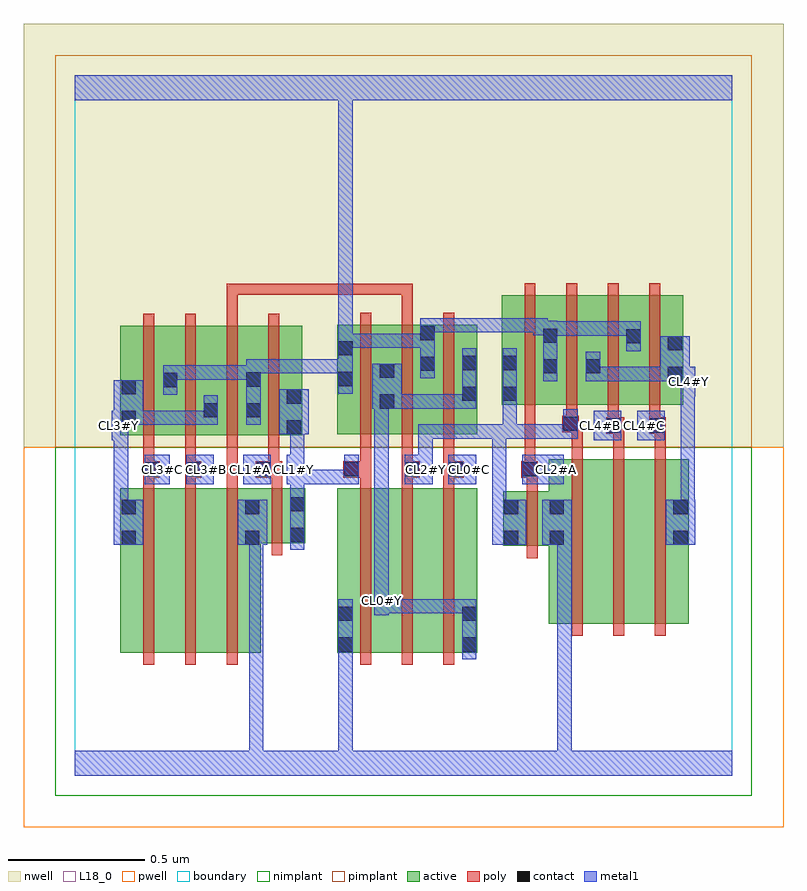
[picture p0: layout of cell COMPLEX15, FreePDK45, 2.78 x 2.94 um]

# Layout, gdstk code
import gdstk
lib = gdstk.Library(unit=1e-6, precision=1e-09)
def R(c, l, rs):  # rectangles x0, y0, x1, y1
    for r in rs: c.add(gdstk.rectangle(r[:2], r[2:], *l))
def A(c, l, x, y, w, h, nx, ny, dx, dy):  # array of equal rectangles
    R(c, l, [(x+i*dx, y+j*dy, x+i*dx+w, y+j*dy+h) for i in range(nx) for j in range(ny)])
active = (1, 0)
pwell = (2, 0)
nwell = (3, 0)
nimplant = (4, 0)
pimplant = (5, 0)
poly = (9, 0)
contact = (10, 0)
metal1 = (11, 0)
L18_0 = (18, 0)
boundary = (235, 0)

complex15 = lib.new_cell('COMPLEX15')
R(complex15, active, [(0.166,0.45,0.346,1.05), (0.346,0.45,0.498,1.05), (0.498,0.45,0.678,1.05), (0.618,0.45,0.678,1.012), (0.958,0.45,1.018,1.05), (0.958,0.45,1.138,1.05), (1.138,0.45,1.29,1.05), (1.29,0.45,1.47,1.05), (1.41,0.45,1.47,1.05), (0.166,0.556,0.226,1.05), (1.73,0.556,1.91,1.156), (1.91,0.556,2.062,1.156), (2.062,0.556,2.242,1.156), (2.182,0.556,2.242,1.156), (1.564,0.84,1.79,1.04), (1.564,0.84,1.624,1.04), (1.73,0.84,1.79,1.012), (0.618,0.85,0.842,1.05), (0.782,0.85,0.842,1.05), (0.166,1.244,0.378,1.644), (0.166,1.244,0.226,1.644), (0.318,1.244,0.526,1.644), (0.318,1.244,0.378,1.644), (0.466,1.244,0.682,1.644), (0.466,1.244,0.526,1.644), (0.622,1.244,0.83,1.644), (0.622,1.244,0.682,1.644), (0.77,1.244,0.83,1.644), (0.958,1.248,1.17,1.648), (0.958,1.248,1.018,1.644), (1.11,1.248,1.318,1.648), (1.11,1.248,1.17,1.648), (1.258,1.248,1.47,1.648), (1.258,1.248,1.318,1.648), (1.41,1.248,1.47,1.644), (1.558,1.356,1.618,1.644), (1.558,1.356,1.766,1.756), (1.706,1.356,1.766,1.644), (1.706,1.356,1.922,1.756), (1.862,1.356,1.922,1.644), (1.862,1.356,2.07,1.756), (2.01,1.356,2.07,1.644), (2.01,1.356,2.222,1.756), (2.162,1.356,2.222,1.644)])
R(complex15, pwell, [(-0.188,-0.188,2.588,1.2)])
R(complex15, nwell, [(-0.188,1.2,2.588,2.748)])
R(complex15, nimplant, [(-0.072,-0.072,2.472,1.2)])
R(complex15, pimplant, [(-0.072,1.2,2.472,2.632)])
A(complex15, poly, 0.25, 0.406, 0.04, 0.688, 3, 1, 0.152, 0)
A(complex15, poly, 1.042, 0.406, 0.04, 0.688, 3, 1, 0.152, 0)
A(complex15, poly, 1.814, 0.512, 0.04, 0.688, 3, 1, 0.152, 0)
A(complex15, poly, 0.25, 1.054, 0.04, 0.076, 3, 1, 0.152, 0)
A(complex15, poly, 1.042, 1.054, 0.04, 0.076, 3, 1, 0.152, 0)
A(complex15, poly, 1.042, 1.11, 0.04, 0.134, 3, 1, 0.152, 0)
A(complex15, poly, 0.25, 1.2, 0.04, 0.488, 4, 1, 0.152, 0)
A(complex15, poly, 1.042, 1.204, 0.04, 0.488, 3, 1, 0.152, 0)
A(complex15, poly, 1.642, 1.312, 0.04, 0.488, 4, 1, 0.152, 0)
R(complex15, poly, [(1.65,0.796,1.69,1.084), (0.718,0.806,0.758,1.094), (1.65,1.044,1.69,1.13), (0.718,1.054,0.758,1.13), (0.25,1.09,0.29,1.13), (0.25,1.09,0.29,1.13), (0.25,1.09,0.31,1.15), (0.402,1.09,0.462,1.15), (0.554,1.09,0.594,1.13), (0.554,1.09,0.594,1.13), (0.554,1.09,0.594,1.13), (0.554,1.09,0.594,1.24), (0.66,1.09,0.758,1.15), (0.98,1.09,1.082,1.15), (1.194,1.09,1.234,1.13), (1.194,1.09,1.234,1.13), (1.194,1.09,1.26,1.15), (1.346,1.09,1.42,1.15), (1.63,1.09,1.69,1.15), (0.25,1.11,0.29,1.24), (0.402,1.11,0.442,1.15), (0.402,1.11,0.442,1.15), (0.402,1.11,0.442,1.24), (0.706,1.11,0.746,1.15), (0.706,1.11,0.746,1.15), (0.706,1.11,0.746,1.24), (1.042,1.11,1.082,1.15), (1.042,1.11,1.082,1.15), (1.346,1.11,1.386,1.15), (1.346,1.11,1.386,1.15), (1.642,1.11,1.682,1.15), (1.642,1.11,1.682,1.15), (1.642,1.11,1.682,1.352), (1.814,1.16,1.854,1.296), (1.966,1.16,2.006,1.29), (2.118,1.16,2.158,1.29), (1.94,1.25,2.006,1.31), (2.098,1.25,2.158,1.31), (1.78,1.256,1.84,1.316), (1.8,1.256,1.84,1.296), (1.8,1.256,1.854,1.296), (1.946,1.27,1.986,1.352), (1.946,1.27,1.986,1.31), (1.946,1.27,1.986,1.31), (2.098,1.27,2.138,1.352), (2.098,1.27,2.138,1.31), (2.098,1.27,2.138,1.31), (1.794,1.276,1.834,1.352), (0.554,1.648,0.594,1.798), (1.194,1.652,1.234,1.798), (0.554,1.758,0.594,1.798), (0.554,1.758,0.594,1.798), (0.554,1.758,0.594,1.798), (0.554,1.758,0.7,1.798), (0.66,1.758,0.7,1.798), (0.66,1.758,0.7,1.798), (0.66,1.758,0.7,1.798), (0.66,1.758,0.806,1.798), (0.766,1.758,0.806,1.798), (0.766,1.758,0.806,1.798), (0.766,1.758,0.806,1.798), (0.766,1.758,1.234,1.798), (1.194,1.758,1.234,1.798), (1.194,1.758,1.234,1.798), (1.194,1.758,1.234,1.798)])
R(complex15, contact, [(0.962,0.454,1.014,0.506), (1.414,0.454,1.466,0.506), (0.962,0.566,1.014,0.618), (1.414,0.566,1.466,0.618), (0.17,0.844,0.222,0.896), (0.622,0.844,0.674,0.896), (1.568,0.844,1.62,0.896), (1.734,0.844,1.786,0.896), (2.186,0.844,2.238,0.896), (0.786,0.854,0.838,0.906), (0.17,0.956,0.222,1.008), (0.622,0.956,0.674,1.008), (1.568,0.956,1.62,1.008), (1.734,0.956,1.786,1.008), (2.186,0.956,2.238,1.008), (0.786,0.966,0.838,1.018), (0.254,1.094,0.306,1.146), (0.406,1.094,0.458,1.146), (0.664,1.094,0.716,1.146), (0.984,1.094,1.036,1.146), (1.204,1.094,1.256,1.146), (1.364,1.094,1.416,1.146), (1.634,1.094,1.686,1.146), (0.774,1.248,0.826,1.3), (1.944,1.254,1.996,1.306), (2.102,1.254,2.154,1.306), (1.784,1.26,1.836,1.312), (0.17,1.282,0.222,1.334), (0.47,1.31,0.522,1.362), (0.626,1.31,0.678,1.362), (1.114,1.342,1.166,1.394), (0.774,1.36,0.826,1.412), (1.414,1.37,1.466,1.422), (1.562,1.37,1.614,1.422), (0.17,1.394,0.222,1.446), (0.322,1.42,0.374,1.472), (0.626,1.422,0.678,1.474), (0.962,1.424,1.014,1.476), (2.166,1.442,2.218,1.494), (1.114,1.454,1.166,1.506), (1.71,1.47,1.762,1.522), (1.866,1.47,1.918,1.522), (1.262,1.48,1.314,1.532), (1.414,1.482,1.466,1.534), (1.562,1.482,1.614,1.534), (0.962,1.536,1.014,1.588), (2.166,1.554,2.218,1.606), (2.014,1.58,2.066,1.632), (1.71,1.582,1.762,1.634), (1.262,1.592,1.314,1.644)])
R(complex15, metal1, [(0,0,2.4,0.092), (0.636,0.04,0.688,0.896), (0.962,0.04,1.014,0.092), (0.962,0.04,1.014,0.092), (0.962,0.04,1.014,0.092), (0.962,0.04,1.014,0.092), (0.962,0.04,1.014,0.092), (0.962,0.04,1.014,0.092), (0.962,0.04,1.014,0.092), (0.962,0.04,1.014,0.092), (0.962,0.04,1.014,0.478), (1.762,0.04,1.814,0.896), (0.962,0.426,1.014,0.646), (1.414,0.426,1.466,0.646), (1.094,0.586,1.146,0.694), (1.094,0.594,1.146,0.646), (1.094,0.594,1.146,0.646), (1.094,0.594,1.304,0.646), (1.252,0.594,1.304,0.646), (1.252,0.594,1.304,0.646), (1.252,0.594,1.304,0.646), (1.252,0.594,1.466,0.646), (1.414,0.594,1.466,0.646), (1.414,0.594,1.466,0.646), (1.094,0.642,1.146,0.694), (1.094,0.642,1.146,0.694), (1.094,0.642,1.146,1.394), (0.786,0.826,0.838,1.046), (0.142,0.844,0.25,1.008), (0.594,0.844,0.702,1.008), (0.636,0.844,0.688,0.896), (0.636,0.844,0.688,0.896), (0.636,0.844,0.688,0.896), (0.636,0.844,0.688,0.896), (0.636,0.844,0.688,0.896), (0.636,0.844,0.688,0.896), (0.636,0.844,0.688,0.896), (0.636,0.844,0.688,0.896), (1.524,0.844,1.648,1.008), (1.706,0.844,1.814,1.008), (1.762,0.844,1.814,0.896), (1.762,0.844,1.814,0.896), (1.762,0.844,1.814,0.896), (1.762,0.844,1.814,0.896), (1.762,0.844,1.814,0.896), (1.762,0.844,1.814,0.896), (1.762,0.844,1.814,0.896), (1.762,0.844,1.814,0.896), (2.158,0.844,2.266,1.008), (0.142,0.956,0.194,1.278), (1.524,0.956,1.576,1.008), (1.524,0.956,1.576,1.008), (1.524,0.956,1.576,1.284), (2.212,0.956,2.264,1.438), (0.786,0.994,0.838,1.118), (0.254,1.066,0.346,1.174), (0.406,1.066,0.506,1.174), (0.614,1.066,0.716,1.174), (0.774,1.066,0.838,1.174), (0.786,1.066,0.838,1.118), (0.786,1.066,0.838,1.118), (0.786,1.066,1.036,1.118), (0.984,1.066,1.036,1.174), (1.204,1.066,1.306,1.174), (1.364,1.066,1.466,1.174), (1.634,1.066,1.786,1.174), (0.786,1.122,0.838,1.174), (0.786,1.122,0.838,1.174), (0.786,1.122,0.838,1.3), (1.254,1.122,1.306,1.174), (1.254,1.122,1.306,1.284), (0.134,1.226,0.194,1.334), (1.894,1.226,1.996,1.334), (2.054,1.226,2.154,1.334), (1.254,1.232,1.424,1.284), (1.372,1.232,1.424,1.284), (1.372,1.232,1.424,1.284), (1.372,1.232,1.424,1.284), (1.372,1.232,1.576,1.284), (1.524,1.232,1.614,1.284), (1.562,1.232,1.614,1.284), (1.562,1.232,1.614,1.284), (1.562,1.232,1.808,1.284), (1.562,1.232,1.614,1.394), (1.756,1.232,1.808,1.284), (1.756,1.232,1.836,1.284), (1.784,1.232,1.836,1.34), (0.746,1.248,0.854,1.412), (0.142,1.282,0.194,1.334), (0.142,1.282,0.194,1.334), (0.142,1.282,0.194,1.334), (0.142,1.282,0.25,1.446), (0.198,1.282,0.25,1.334), (0.198,1.282,0.25,1.334), (0.198,1.282,0.36,1.334), (0.308,1.282,0.36,1.334), (0.308,1.282,0.36,1.334), (0.308,1.282,0.36,1.334), (0.308,1.282,0.522,1.334), (0.47,1.282,0.522,1.39), (0.626,1.282,0.678,1.502), (1.086,1.342,1.194,1.506), (1.142,1.342,1.194,1.394), (1.142,1.342,1.194,1.394), (1.142,1.342,1.314,1.394), (1.262,1.342,1.314,1.394), (1.262,1.342,1.466,1.394), (1.414,1.342,1.466,1.394), (1.414,1.342,1.466,1.394), (1.414,1.342,1.466,1.562), (1.562,1.342,1.614,1.562), (2.212,1.386,2.266,1.494), (0.322,1.392,0.374,1.5), (0.962,1.396,1.014,1.616), (1.71,1.442,1.762,1.662), (1.866,1.442,1.918,1.55), (1.866,1.442,1.996,1.494), (1.944,1.442,1.996,1.494), (1.944,1.442,2.08,1.494), (2.028,1.442,2.08,1.494), (2.028,1.442,2.19,1.494), (2.138,1.442,2.19,1.494), (2.138,1.442,2.19,1.494), (2.138,1.442,2.246,1.606), (2.194,1.442,2.246,1.494), (2.194,1.442,2.264,1.494), (2.212,1.442,2.264,1.494), (0.322,1.448,0.374,1.5), (0.322,1.448,0.374,1.5), (0.322,1.448,0.484,1.5), (0.432,1.448,0.484,1.5), (0.432,1.448,0.484,1.5), (0.432,1.448,0.484,1.5), (0.432,1.448,0.678,1.5), (0.626,1.45,0.678,1.502), (0.626,1.45,0.678,1.522), (1.262,1.452,1.314,1.672), (0.626,1.47,0.904,1.522), (0.852,1.47,0.904,1.522), (0.852,1.47,1.014,1.522), (2.014,1.552,2.066,1.66), (0.962,1.564,1.014,1.616), (0.962,1.564,1.014,1.616), (0.962,1.564,1.014,1.616), (0.962,1.564,1.014,1.616), (0.962,1.564,1.194,1.616), (0.962,1.564,1.014,2.52), (1.142,1.564,1.194,1.616), (1.142,1.564,1.194,1.616), (1.142,1.564,1.194,1.616), (1.142,1.564,1.314,1.616), (1.71,1.608,1.836,1.66), (1.784,1.608,1.836,1.66), (1.784,1.608,1.946,1.66), (1.894,1.608,1.946,1.66), (1.894,1.608,1.946,1.66), (1.894,1.608,1.946,1.66), (1.894,1.608,2.066,1.66), (1.674,1.61,1.762,1.662), (1.674,1.61,1.726,1.672), (1.262,1.62,1.424,1.672), (1.372,1.62,1.424,1.672), (1.372,1.62,1.424,1.672), (1.372,1.62,1.424,1.672), (1.372,1.62,1.648,1.672), (1.596,1.62,1.648,1.672), (1.596,1.62,1.726,1.672), (0,2.468,2.4,2.56), (0.962,2.468,1.014,2.52), (0.962,2.468,1.014,2.52), (0.962,2.468,1.014,2.52), (0.962,2.468,1.014,2.52), (0.962,2.468,1.014,2.52), (0.962,2.468,1.014,2.52), (0.962,2.468,1.014,2.52), (0.962,2.468,1.014,2.52), (0.962,2.468,1.014,2.52), (0.962,2.468,1.014,2.52), (0.962,2.468,1.014,2.52), (0.962,2.468,1.014,2.52), (0.962,2.468,1.014,2.52), (0.962,2.468,1.014,2.52)])
A(complex15, L18_0, 0.294, 1.094, 0.052, 0.052, 4, 1, 0.16, 0)
R(complex15, L18_0, [(0,0,2.4,0.092), (0.636,0.04,0.688,0.896), (0.962,0.04,1.014,0.092), (0.962,0.04,1.014,0.092), (0.962,0.04,1.014,0.092), (0.962,0.04,1.014,0.092), (0.962,0.04,1.014,0.092), (0.962,0.04,1.014,0.092), (0.962,0.04,1.014,0.092), (0.962,0.04,1.014,0.092), (0.962,0.04,1.014,0.478), (1.762,0.04,1.814,0.896), (0.962,0.426,1.014,0.646), (1.414,0.426,1.466,0.646), (1.094,0.586,1.146,0.694), (1.094,0.594,1.146,0.646), (1.094,0.594,1.146,0.646), (1.094,0.594,1.304,0.646), (1.252,0.594,1.304,0.646), (1.252,0.594,1.304,0.646), (1.252,0.594,1.304,0.646), (1.252,0.594,1.466,0.646), (1.414,0.594,1.466,0.646), (1.414,0.594,1.466,0.646), (1.094,0.614,1.146,0.666), (1.094,0.642,1.146,0.694), (1.094,0.642,1.146,0.694), (1.094,0.642,1.146,1.394), (0.786,0.826,0.838,1.046), (0.142,0.844,0.25,1.008), (0.594,0.844,0.702,1.008), (0.636,0.844,0.688,0.896), (0.636,0.844,0.688,0.896), (0.636,0.844,0.688,0.896), (0.636,0.844,0.688,0.896), (0.636,0.844,0.688,0.896), (0.636,0.844,0.688,0.896), (0.636,0.844,0.688,0.896), (0.636,0.844,0.688,0.896), (1.524,0.844,1.648,1.008), (1.706,0.844,1.814,1.008), (1.762,0.844,1.814,0.896), (1.762,0.844,1.814,0.896), (1.762,0.844,1.814,0.896), (1.762,0.844,1.814,0.896), (1.762,0.844,1.814,0.896), (1.762,0.844,1.814,0.896), (1.762,0.844,1.814,0.896), (1.762,0.844,1.814,0.896), (2.158,0.844,2.266,1.008), (0.142,0.956,0.194,1.278), (1.524,0.956,1.576,1.008), (1.524,0.956,1.576,1.008), (1.524,0.956,1.576,1.284), (2.212,0.956,2.264,1.438), (0.786,0.994,0.838,1.118), (0.254,1.066,0.346,1.174), (0.406,1.066,0.506,1.174), (0.614,1.066,0.716,1.174), (0.774,1.066,0.838,1.174), (0.786,1.066,0.838,1.118), (0.786,1.066,0.838,1.118), (0.786,1.066,1.036,1.118), (0.984,1.066,1.036,1.174), (1.204,1.066,1.306,1.174), (1.364,1.066,1.466,1.174), (1.634,1.066,1.786,1.174), (1.254,1.094,1.306,1.146), (1.414,1.094,1.466,1.146), (1.734,1.094,1.786,1.146), (0.786,1.122,0.838,1.174), (0.786,1.122,0.838,1.174), (0.786,1.122,0.838,1.3), (1.254,1.122,1.306,1.174), (1.254,1.122,1.306,1.284), (0.134,1.226,0.194,1.334), (1.894,1.226,1.996,1.334), (2.054,1.226,2.154,1.334), (1.254,1.232,1.424,1.284), (1.372,1.232,1.424,1.284), (1.372,1.232,1.424,1.284), (1.372,1.232,1.424,1.284), (1.372,1.232,1.576,1.284), (1.524,1.232,1.614,1.284), (1.562,1.232,1.614,1.284), (1.562,1.232,1.614,1.284), (1.562,1.232,1.808,1.284), (1.562,1.232,1.614,1.394), (1.756,1.232,1.808,1.284), (1.756,1.232,1.836,1.284), (1.784,1.232,1.836,1.34), (0.746,1.248,0.854,1.412), (0.134,1.254,0.186,1.306), (1.894,1.254,1.946,1.306), (2.054,1.254,2.106,1.306), (0.142,1.282,0.25,1.446), (0.142,1.282,0.194,1.334), (0.142,1.282,0.194,1.334), (0.142,1.282,0.194,1.334), (0.198,1.282,0.25,1.334), (0.198,1.282,0.25,1.334), (0.198,1.282,0.36,1.334), (0.308,1.282,0.36,1.334), (0.308,1.282,0.36,1.334), (0.308,1.282,0.36,1.334), (0.308,1.282,0.522,1.334), (0.47,1.282,0.522,1.39), (0.626,1.282,0.678,1.502), (1.086,1.342,1.194,1.506), (1.142,1.342,1.194,1.394), (1.142,1.342,1.194,1.394), (1.142,1.342,1.314,1.394), (1.262,1.342,1.314,1.394), (1.262,1.342,1.466,1.394), (1.414,1.342,1.466,1.394), (1.414,1.342,1.466,1.394), (1.414,1.342,1.466,1.562), (1.562,1.342,1.614,1.562), (2.212,1.386,2.266,1.494), (0.322,1.392,0.374,1.5), (0.962,1.396,1.014,1.616), (2.214,1.414,2.266,1.466), (1.71,1.442,1.762,1.662), (1.866,1.442,1.918,1.55), (1.866,1.442,1.996,1.494), (1.944,1.442,1.996,1.494), (1.944,1.442,2.08,1.494), (2.028,1.442,2.08,1.494), (2.028,1.442,2.19,1.494), (2.138,1.442,2.246,1.606), (2.138,1.442,2.19,1.494), (2.138,1.442,2.19,1.494), (2.194,1.442,2.246,1.494), (2.194,1.442,2.264,1.494), (2.212,1.442,2.264,1.494), (0.322,1.448,0.374,1.5), (0.322,1.448,0.374,1.5), (0.322,1.448,0.484,1.5), (0.432,1.448,0.484,1.5), (0.432,1.448,0.484,1.5), (0.432,1.448,0.484,1.5), (0.432,1.448,0.678,1.5), (0.626,1.45,0.678,1.502), (0.626,1.45,0.678,1.522), (1.262,1.452,1.314,1.672), (0.626,1.47,0.904,1.522), (0.852,1.47,0.904,1.522), (0.852,1.47,1.014,1.522), (2.014,1.552,2.066,1.66), (0.962,1.564,1.014,1.616), (0.962,1.564,1.014,1.616), (0.962,1.564,1.014,1.616), (0.962,1.564,1.014,1.616), (0.962,1.564,1.014,2.52), (0.962,1.564,1.194,1.616), (1.142,1.564,1.194,1.616), (1.142,1.564,1.194,1.616), (1.142,1.564,1.194,1.616), (1.142,1.564,1.314,1.616), (1.71,1.608,1.836,1.66), (1.784,1.608,1.836,1.66), (1.784,1.608,1.946,1.66), (1.894,1.608,1.946,1.66), (1.894,1.608,1.946,1.66), (1.894,1.608,1.946,1.66), (1.894,1.608,2.066,1.66), (1.674,1.61,1.726,1.672), (1.674,1.61,1.762,1.662), (1.262,1.62,1.424,1.672), (1.372,1.62,1.424,1.672), (1.372,1.62,1.424,1.672), (1.372,1.62,1.424,1.672), (1.372,1.62,1.648,1.672), (1.596,1.62,1.648,1.672), (1.596,1.62,1.726,1.672), (0,2.468,2.4,2.56), (0.962,2.468,1.014,2.52), (0.962,2.468,1.014,2.52), (0.962,2.468,1.014,2.52), (0.962,2.468,1.014,2.52), (0.962,2.468,1.014,2.52), (0.962,2.468,1.014,2.52), (0.962,2.468,1.014,2.52), (0.962,2.468,1.014,2.52), (0.962,2.468,1.014,2.52), (0.962,2.468,1.014,2.52), (0.962,2.468,1.014,2.52), (0.962,2.468,1.014,2.52), (0.962,2.468,1.014,2.52), (0.962,2.468,1.014,2.52)])
R(complex15, boundary, [(0,0,2.4,2.56)])
complex15.add(gdstk.Label('CL0#C', (1.44,1.12), layer=11, texttype=0))
complex15.add(gdstk.Label('CL0#Y', (1.12,0.64), layer=11, texttype=0))
complex15.add(gdstk.Label('CL1#A', (0.64,1.12), layer=11, texttype=0))
complex15.add(gdstk.Label('CL1#Y', (0.8,1.12), layer=11, texttype=0))
complex15.add(gdstk.Label('CL2#A', (1.76,1.12), layer=11, texttype=0))
complex15.add(gdstk.Label('CL2#Y', (1.28,1.12), layer=11, texttype=0))
complex15.add(gdstk.Label('CL3#B', (0.48,1.12), layer=11, texttype=0))
complex15.add(gdstk.Label('CL3#C', (0.32,1.12), layer=11, texttype=0))
complex15.add(gdstk.Label('CL3#Y', (0.16,1.28), layer=11, texttype=0))
complex15.add(gdstk.Label('CL4#B', (1.92,1.28), layer=11, texttype=0))
complex15.add(gdstk.Label('CL4#C', (2.08,1.28), layer=11, texttype=0))
complex15.add(gdstk.Label('CL4#Y', (2.24,1.44), layer=11, texttype=0))

lib.write_gds('COMPLEX15.gds')
